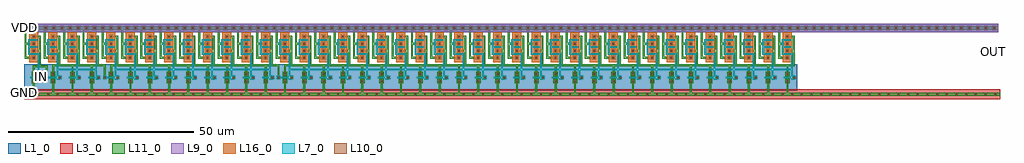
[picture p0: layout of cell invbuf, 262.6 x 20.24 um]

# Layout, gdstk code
from math import pi, radians
import gdstk
lib = gdstk.Library(unit=1e-6, precision=1e-09)
def R(c, l, rs):  # rectangles x0, y0, x1, y1
    for r in rs: c.add(gdstk.rectangle(r[:2], r[2:], *l))
def A(c, l, x, y, w, h, nx, ny, dx, dy):  # array of equal rectangles
    R(c, l, [(x+i*dx, y+j*dy, x+i*dx+w, y+j*dy+h) for i in range(nx) for j in range(ny)])
L1_0 = (1, 0)
L3_0 = (3, 0)
L7_0 = (7, 0)
L9_0 = (9, 0)
L10_0 = (10, 0)
L11_0 = (11, 0)
L16_0 = (16, 0)

inv0_4 = lib.new_cell('inv0$4')

inv0 = lib.new_cell('inv0')

inv0_1 = lib.new_cell('inv0$1')

inv0_2 = lib.new_cell('inv0$2')

inv0_3 = lib.new_cell('inv0$3')

pcont_1 = lib.new_cell('pcont$1')
R(pcont_1, L7_0, [(-0.45,-0.45,0.45,0.45)])
R(pcont_1, L10_0, [(-0.25,-0.25,0.25,0.25)])
R(pcont_1, L11_0, [(-0.45,-0.45,0.45,0.45)])

nsub_line_1 = lib.new_cell('Nsub_line$1')
R(nsub_line_1, L3_0, [(0,-1.3,262.6,1.3)])
A(nsub_line_1, L10_0, 1.05, -0.25, 0.5, 0.5, 101, 1, 2.6, 0)
nsub_line_1.add(gdstk.FlexPath([(0,0),(262.6,0)], 0.9, ends="flush", simple_path=True, layer=11, datatype=0))  # L11_0

psub_line = lib.new_cell('Psub_line')
R(psub_line, L1_0, [(0,-1.1,261.8,1.1)])
A(psub_line, L3_0, 0.5, -0.6, 1.2, 1.2, 119, 1, 2.2, 0)
R(psub_line, L9_0, [(0,-1.1,261.8,1.1)])
A(psub_line, L10_0, 0.85, -0.25, 0.5, 0.5, 119, 1, 2.2, 0)
psub_line.add(gdstk.FlexPath([(0,0),(261.8,0)], 0.9, ends="flush", simple_path=True, layer=11, datatype=0))  # L11_0

dcont = lib.new_cell('dcont')
R(dcont, L3_0, [(-0.6,-0.6,0.6,0.6)])
R(dcont, L10_0, [(-0.25,-0.25,0.25,0.25)])

pch = lib.new_cell('Pch')
R(pch, L3_0, [(0,1.7,6.9,2.9)])
R(pch, L9_0, [(-0.6,1.1,7.5,3.5)])
R(pch, L16_0, [(-0.6,1.1,7.5,3.5)])
pch.add(gdstk.FlexPath([(0.6,1.7),(0.6,2.9)], 1.2, ends="flush", simple_path=True, layer=11, datatype=0))  # L11_0
pch.add(gdstk.FlexPath([(2.5,1.7),(2.5,2.9)], 1.2, ends="flush", simple_path=True, layer=11, datatype=0))  # L11_0
pch.add(gdstk.FlexPath([(4.4,1.7),(4.4,2.9)], 1.2, ends="flush", simple_path=True, layer=11, datatype=0))  # L11_0
pch.add(gdstk.FlexPath([(6.3,1.7),(6.3,2.9)], 1.2, ends="flush", simple_path=True, layer=11, datatype=0))  # L11_0
pch.add(gdstk.FlexPath([(0.6,2.4),(0.6,4)], 0.5, ends="flush", simple_path=True, layer=11, datatype=0))  # L11_0
pch.add(gdstk.FlexPath([(2.5,0.1),(2.5,2.2)], 0.5, ends="flush", simple_path=True, layer=11, datatype=0))  # L11_0
pch.add(gdstk.FlexPath([(4.4,2.4),(4.4,4)], 0.5, ends="flush", simple_path=True, layer=11, datatype=0))  # L11_0
pch.add(gdstk.FlexPath([(0.6,4),(4.4,4)], 0.5, ends="extended", simple_path=True, layer=11, datatype=0))  # L11_0
pch.add(gdstk.FlexPath([(6.3,0.1),(6.3,2.2)], 0.5, ends="flush", simple_path=True, layer=11, datatype=0))  # L11_0
pch.add(gdstk.FlexPath([(2.5,0.1),(6.3,0.1)], 0.5, ends="extended", simple_path=True, layer=11, datatype=0))  # L11_0
pch.add(gdstk.FlexPath([(1.55,1.7),(1.55,2.9)], 0.4, ends=(0.4, 0.4), simple_path=True, layer=7, datatype=0))  # L7_0
pch.add(gdstk.FlexPath([(3.45,1.7),(3.45,2.9)], 0.4, ends=(0.4, 0.4), simple_path=True, layer=7, datatype=0))  # L7_0
pch.add(gdstk.FlexPath([(5.35,1.7),(5.35,2.9)], 0.4, ends=(0.4, 0.4), simple_path=True, layer=7, datatype=0))  # L7_0
pch.add(gdstk.FlexPath([(1.35,1.05),(3.65,1.05)], 0.5, ends="flush", simple_path=True, layer=7, datatype=0))  # L7_0
pch.add(gdstk.FlexPath([(3.25,1.05),(5.55,1.05)], 0.5, ends="flush", simple_path=True, layer=7, datatype=0))  # L7_0
pch.add(gdstk.Reference(dcont, (0.6,2.3)))
pch.add(gdstk.Reference(dcont, (2.5,2.3)))
pch.add(gdstk.Reference(dcont, (4.4,2.3)))
pch.add(gdstk.Reference(dcont, (6.3,2.3)))

pcont = lib.new_cell('pcont')
R(pcont, L7_0, [(-0.45,-0.45,0.45,0.45)])
R(pcont, L10_0, [(-0.25,-0.25,0.25,0.25)])
R(pcont, L11_0, [(-0.45,-0.45,0.45,0.45)])

nch_3 = lib.new_cell('Nch$3')
R(nch_3, L1_0, [(-2,-0.3,5.1,4.9)])
R(nch_3, L3_0, [(0,1.7,3.1,2.9)])
nch_3.add(gdstk.FlexPath([(0.6,1.7),(0.6,2.9)], 1.2, ends="flush", simple_path=True, layer=11, datatype=0))  # L11_0
nch_3.add(gdstk.FlexPath([(2.5,1.7),(2.5,2.9)], 1.2, ends="flush", simple_path=True, layer=11, datatype=0))  # L11_0
nch_3.add(gdstk.FlexPath([(1.55,1.7),(1.55,2.9)], 0.4, ends=(0.4, 0.4), simple_path=True, layer=7, datatype=0))  # L7_0
nch_3.add(gdstk.FlexPath([(1.55,4.1),(1.55,3.3)], 1.2, ends="flush", simple_path=True, layer=7, datatype=0))  # L7_0
nch_3.add(gdstk.Reference(dcont, (0.6,2.3)))
nch_3.add(gdstk.Reference(dcont, (2.5,2.3)))
nch_3.add(gdstk.Reference(pcont, (1.55,4.1)))

inv_citizen_1 = lib.new_cell('INV_Citizen$1')
inv_citizen_1.add(gdstk.FlexPath([(42.34,3.59),(42.34,5.95),(43.99,5.95),(43.99,9.9)], 0.5, ends="flush", simple_path=True, layer=11, datatype=0))  # L11_0
inv_citizen_1.add(gdstk.FlexPath([(42.34,1.7),(42.34,-1.44)], 0.5, ends="flush", simple_path=True, layer=11, datatype=0))  # L11_0
inv_citizen_1.add(gdstk.FlexPath([(40.09,11.8),(40.09,16.08)], 0.5, ends="flush", simple_path=True, layer=11, datatype=0))  # L11_0
inv_citizen_1.add(gdstk.FlexPath([(42.89,8.95),(43.54,8.95),(43.54,2.65)], 0.4, ends="flush", simple_path=True, layer=7, datatype=0))  # L7_0
inv_citizen_1.add(gdstk.Reference(pch, (39.99,14.3), rotation=3*pi/2))
inv_citizen_1.add(gdstk.Reference(nch_3, (40.04,4.2), rotation=3*pi/2))

inv_citizen3 = lib.new_cell('INV_Citizen3')
inv_citizen3.add(gdstk.FlexPath([(51.17,5.93),(59.92,5.93)], 0.5, ends="flush", simple_path=True, layer=11, datatype=0))  # L11_0
inv_citizen3.add(gdstk.FlexPath([(50.72,4.82),(61.12,4.82)], 0.4, ends="flush", simple_path=True, layer=7, datatype=0))  # L7_0
inv_citizen3.add(gdstk.Reference(inv_citizen_1, (7.18,-0.02)))
inv_citizen3.add(gdstk.Reference(inv_citizen_1, (12.38,-0.02)))
inv_citizen3.add(gdstk.Reference(inv_citizen_1, (17.58,-0.02)))

inv_citizen9 = lib.new_cell('INV_Citizen9')
inv_citizen9.add(gdstk.FlexPath([(99.61,6.46),(103.16,6.46)], 0.5, ends="flush", simple_path=True, layer=11, datatype=0))  # L11_0
inv_citizen9.add(gdstk.FlexPath([(84.01,6.46),(87.56,6.46)], 0.5, ends="flush", simple_path=True, layer=11, datatype=0))  # L11_0
inv_citizen9.add(gdstk.FlexPath([(83.56,5.35),(88.76,5.35),(88.76,5.34),(88.76,5.34)], 0.4, ends="flush", simple_path=True, layer=7, datatype=0))  # L7_0
inv_citizen9.add(gdstk.FlexPath([(99.16,5.35),(104.36,5.35)], 0.4, ends="flush", simple_path=True, layer=7, datatype=0))  # L7_0
inv_citizen9.add(gdstk.Reference(inv_citizen3, (53.64,0.53)))
inv_citizen9.add(gdstk.Reference(inv_citizen3, (38.04,0.53)))
inv_citizen9.add(gdstk.Reference(inv_citizen3, (22.44,0.53)))

inv_citizen27 = lib.new_cell('INV_Citizen27')
inv_citizen27.add(gdstk.FlexPath([(187.38,6.7),(190.93,6.7)], 0.5, ends="flush", simple_path=True, layer=11, datatype=0))  # L11_0
inv_citizen27.add(gdstk.FlexPath([(234.19,6.7),(237.74,6.7)], 0.5, ends="flush", simple_path=True, layer=11, datatype=0))  # L11_0
inv_citizen27.add(gdstk.FlexPath([(233.73,5.59),(238.93,5.59)], 0.4, ends="flush", simple_path=True, layer=7, datatype=0))  # L7_0
inv_citizen27.add(gdstk.FlexPath([(186.93,5.59),(192.13,5.59)], 0.4, ends="flush", simple_path=True, layer=7, datatype=0))  # L7_0
inv_citizen27.add(gdstk.Reference(inv_citizen9, (165.77,0.24)))
inv_citizen27.add(gdstk.Reference(inv_citizen9, (72.17,0.24)))
inv_citizen27.add(gdstk.Reference(inv_citizen9, (118.97,0.24)))

nch_4 = lib.new_cell('Nch$4')
R(nch_4, L1_0, [(-2,-0.3,5.1,4.9)])
R(nch_4, L3_0, [(0,1.7,3.1,2.9)])
nch_4.add(gdstk.FlexPath([(0.6,1.7),(0.6,2.9)], 1.2, ends="flush", simple_path=True, layer=11, datatype=0))  # L11_0
nch_4.add(gdstk.FlexPath([(2.5,1.7),(2.5,2.9)], 1.2, ends="flush", simple_path=True, layer=11, datatype=0))  # L11_0
nch_4.add(gdstk.FlexPath([(1.55,1.7),(1.55,2.9)], 0.4, ends=(0.4, 0.4), simple_path=True, layer=7, datatype=0))  # L7_0
nch_4.add(gdstk.FlexPath([(1.55,4.1),(1.55,3.3)], 1.2, ends="flush", simple_path=True, layer=7, datatype=0))  # L7_0
nch_4.add(gdstk.Reference(dcont, (0.6,2.3)))
nch_4.add(gdstk.Reference(dcont, (2.5,2.3)))
nch_4.add(gdstk.Reference(pcont, (1.55,4.1)))

inv_citizen = lib.new_cell('INV_Citizen')
inv_citizen.add(gdstk.FlexPath([(39.59,1.53),(39.59,-1.6)], 0.5, ends="flush", simple_path=True, layer=11, datatype=0))  # L11_0
inv_citizen.add(gdstk.FlexPath([(41.24,9.73),(41.24,5.52),(39.59,5.52),(39.59,3.43)], 0.5, ends="flush", simple_path=True, layer=11, datatype=0))  # L11_0
inv_citizen.add(gdstk.FlexPath([(37.34,11.63),(37.34,15.91)], 0.5, ends="flush", simple_path=True, layer=11, datatype=0))  # L11_0
inv_citizen.add(gdstk.FlexPath([(40.14,8.78),(40.79,8.78),(40.79,2.68)], 0.4, ends="flush", simple_path=True, layer=7, datatype=0))  # L7_0
inv_citizen.add(gdstk.Reference(pch, (37.24,14.13), rotation=3*pi/2))
inv_citizen.add(gdstk.Reference(nch_3, (37.29,4.03), rotation=3*pi/2))
inv_citizen.add(gdstk.Reference(nch_4, (37.29,4.03), rotation=3*pi/2))

invbuf = lib.new_cell('invbuf')
invbuf.add(gdstk.FlexPath([(41.28,6.42),(43.08,6.42),(43.08,3.38)], 0.5, ends="flush", simple_path=True, layer=11, datatype=0))  # L11_0
invbuf.add(gdstk.FlexPath([(56.89,6.68),(58.71,6.68),(58.71,3.38)], 0.5, ends="flush", simple_path=True, layer=11, datatype=0))  # L11_0
invbuf.add(gdstk.FlexPath([(103.69,6.68),(105.45,6.68),(105.45,3.35)], 0.5, ends="flush", simple_path=True, layer=11, datatype=0))  # L11_0
invbuf.add(gdstk.FlexPath([(44.23,3.38),(42.83,3.38),(42.83,3.38),(42.83,3.38)], 0.4, ends="flush", simple_path=True, layer=7, datatype=0))  # L7_0
invbuf.add(gdstk.FlexPath([(59.84,3.38),(58.46,3.38)], 0.4, ends="flush", simple_path=True, layer=7, datatype=0))  # L7_0
invbuf.add(gdstk.FlexPath([(106.45,3.38),(105.2,3.38)], 0.4, ends="flush", simple_path=True, layer=7, datatype=0))  # L7_0
invbuf.add(gdstk.Reference(inv0_4, (31.9,19.11)))
invbuf.add(gdstk.Reference(inv0, (31.9,19.11)))
invbuf.add(gdstk.Reference(inv0_1, (50.6,53.3)))
invbuf.add(gdstk.Reference(inv0_2, (44.7,53.61)))
invbuf.add(gdstk.Reference(inv0_3, (38.85,19.11)))
invbuf.add(gdstk.Reference(pcont_1, (43.08,3.41)))
invbuf.add(gdstk.Reference(pcont_1, (58.71,3.37)))
invbuf.add(gdstk.Reference(pcont_1, (105.45,3.37)))
invbuf.add(gdstk.Reference(nsub_line_1, (36.99,-1.11)))
invbuf.add(gdstk.Reference(psub_line, (37.3,16.73)))
invbuf.add(gdstk.Reference(inv_citizen9, (-11.53,0.22)))
invbuf.add(gdstk.Reference(inv_citizen27, (-36.9,-0.02)))
invbuf.add(gdstk.Reference(inv_citizen3, (-4.69,0.75)))
invbuf.add(gdstk.Reference(inv_citizen, (0.04,0.9)))
invbuf.add(gdstk.Label('IN', (41.78,3.79), layer=11, texttype=0))
invbuf.add(gdstk.Label('VDD', (37.21,16.81), layer=11, texttype=0))
invbuf.add(gdstk.Label('GND', (37.1,-0.7), layer=11, texttype=0))
invbuf.add(gdstk.Label('OUT', (297.84,10.32), layer=11, texttype=0))

lib.write_gds('invbuf.gds')
